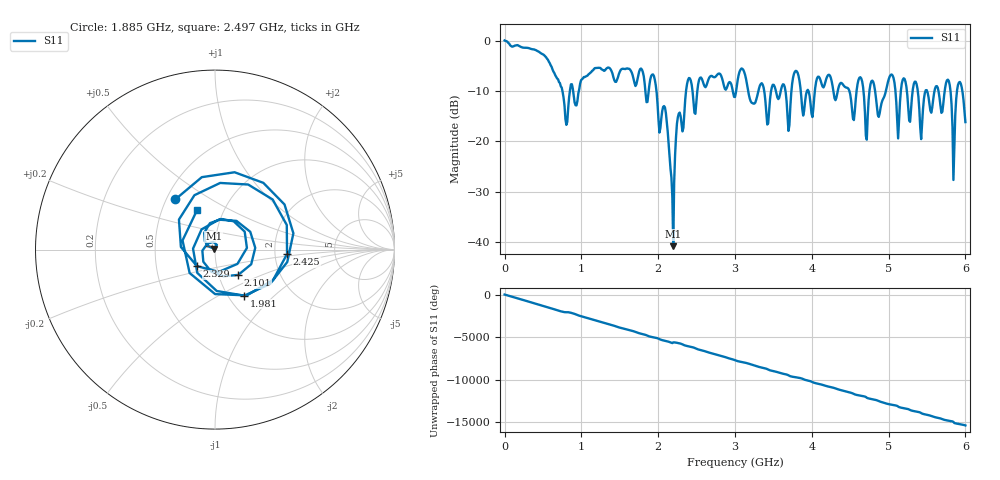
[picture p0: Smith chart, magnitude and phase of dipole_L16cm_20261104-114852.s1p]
! Dipole length 16 cm, measured 20261104-114852
# GHZ S RI R 50.000000000000
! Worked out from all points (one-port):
!   501 points, 1 MHz to 6 GHz, reference 50 ohm
!   lowest |S11| = -40.8 dB at 2.197 GHz (marker M1), VSWR 1.02, Z = 49.3 + j0.591 ohm
!   |S11| at or under -10 dB: 1.978 GHz to 2.363 GHz (385.3 MHz wide, 17.8 % of centre); 3.172 GHz to 3.305 GHz (132.7 MHz wide, 4.1 % of centre); 4.824 GHz to 4.965 GHz (140.4 MHz wide, 2.87 % of centre)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
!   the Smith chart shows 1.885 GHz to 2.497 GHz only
!   S11 on the Smith chart (normalised r, x): 1.885 GHz: 0.56, +0.36; 1.981 GHz: 1.18, -0.67; 2.101 GHz: 1.24, -0.36; 2.329 GHz: 0.80, -0.15; 2.425 GHz: 2.34, -0.14; 2.497 GHz: 0.75, +0.35
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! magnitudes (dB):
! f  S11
! 1 MHz  0.0
! 756.9 MHz  -10.2
! 1.501 GHz  -6.2
! 1.885 GHz  -9.0
! 1.981 GHz  -10.3
! 2.101 GHz  -14.4
! 2.197 GHz  -40.8
! 2.257 GHz  -15.2
! 2.329 GHz  -17.3
! 2.425 GHz  -7.9
! 2.497 GHz  -12.3
! 3.001 GHz  -11.2
! 3.624 GHz  -8.7
! 3.696 GHz  -17.9
! 3.756 GHz  -7.4
! 4.5 GHz  -10.6
! 4.632 GHz  -7.3
! 4.716 GHz  -19.6
! 4.776 GHz  -8.1
! 4.872 GHz  -15.1
! 5.04 GHz  -6.7
! 5.124 GHz  -19.4
! 5.196 GHz  -7.5
! 5.256 GHz  -13.2
! 5.772 GHz  -7.7
! 5.844 GHz  -27.6
! 5.916 GHz  -8.3
! 6 GHz  -16.2
